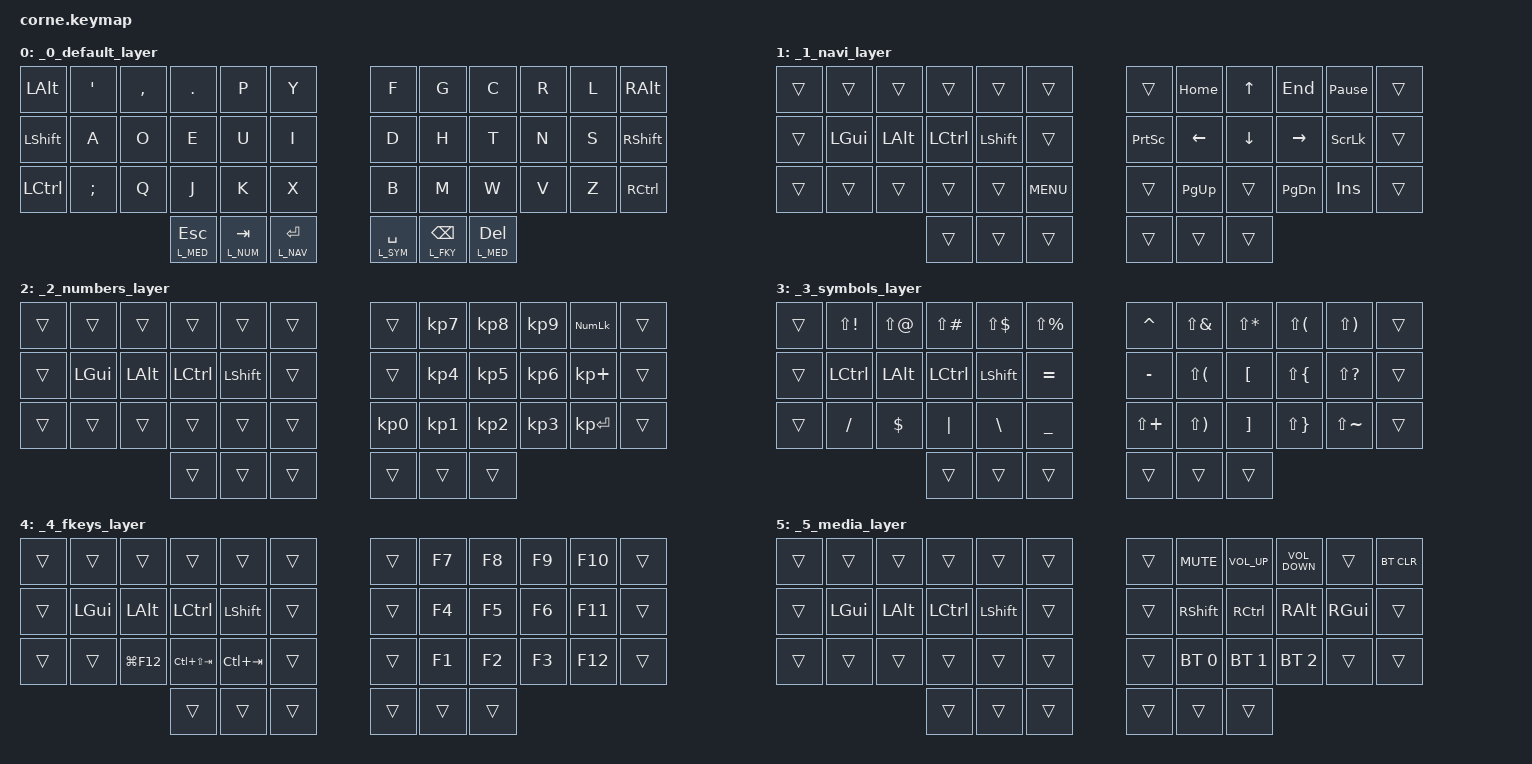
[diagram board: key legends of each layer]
/*
 * Copyright (c) 2020 The ZMK Contributors
 *
 * SPDX-License-Identifier: MIT
 */

#include <behaviors.dtsi>
#include <dt-bindings/zmk/bt.h>
#include <dt-bindings/zmk/keys.h>

// define the layers

#define L_DEF  0
#define L_NAV  1
#define L_NUM  2
#define L_SYM  3
#define L_FKY  4
#define L_MED  5

/ {
    combos {
        compatible = "zmk,combos";

        lgui {
            bindings = <&kp LEFT_GUI>;
            key-positions = <36 37>;
        };

        rgui {
            bindings = <&kp RIGHT_GUI>;
            key-positions = <41 40>;
        };
    };

    keymap {
        compatible = "zmk,keymap";

        _0_default_layer {
            bindings = <
&kp LALT   &kp SQT   &kp COMMA  &kp DOT        &kp P          &kp Y              &kp F            &kp G           &kp C             &kp R  &kp L  &kp RALT
&kp LSHFT  &kp A     &kp O      &kp E          &kp U          &kp I              &kp D            &kp H           &kp T             &kp N  &kp S  &kp RSHFT
&kp LCTRL  &kp SEMI  &kp Q      &kp J          &kp K          &kp X              &kp B            &kp M           &kp W             &kp V  &kp Z  &kp RCTRL
                                &lt L_MED ESC  &lt L_NUM TAB  &lt L_NAV ENTER    &lt L_SYM SPACE  &lt L_FKY BSPC  &lt L_MED DELETE
            >;
        };

        _1_navi_layer {
            bindings = <
&trans  &trans        &trans        &trans     &trans     &trans        &trans           &kp HOME     &kp UP_ARROW  &kp END        &kp PAUSE_BREAK  &trans
&trans  &kp LEFT_GUI  &kp LEFT_ALT  &kp LCTRL  &kp LSHFT  &trans        &kp PRINTSCREEN  &kp LEFT     &kp DOWN      &kp RIGHT      &kp SCROLLLOCK   &trans
&trans  &trans        &trans        &trans     &trans     &kp K_MENU    &trans           &kp PAGE_UP  &trans        &kp PAGE_DOWN  &kp INSERT       &trans
                                    &trans     &trans     &trans        &trans           &trans       &trans
            >;
        };

        _2_numbers_layer {
            bindings = <
&trans  &trans    &trans    &trans     &trans     &trans    &trans           &kp KP_NUMBER_7  &kp KP_NUMBER_8  &kp KP_NUMBER_9  &kp KP_NUMLOCK  &trans
&trans  &kp LGUI  &kp LALT  &kp LCTRL  &kp LSHFT  &trans    &trans           &kp KP_NUMBER_4  &kp KP_NUMBER_5  &kp KP_NUMBER_6  &kp KP_PLUS     &trans
&trans  &trans    &trans    &trans     &trans     &trans    &kp KP_NUMBER_0  &kp KP_NUMBER_1  &kp KP_NUMBER_2  &kp KP_NUMBER_3  &kp KP_ENTER    &trans
                            &trans     &trans     &trans    &trans           &trans           &trans
            >;
        };

        _3_symbols_layer {
            bindings = <
&trans  &kp LS(EXCL)  &kp LS(AT)  &kp LS(POUND)  &kp LS(DLLR)   &kp LS(PRCNT)    &kp CARET     &kp LS(AMPS)  &kp LS(STAR)      &kp LS(LPAR)  &kp LS(RPAR)   &trans
&trans  &kp LCTRL     &kp LALT    &kp LCTRL      &kp LSHFT      &kp EQUAL        &kp MINUS     &kp LS(LPAR)  &kp LEFT_BRACKET  &kp LS(LBRC)  &kp LS(QMARK)  &trans
&trans  &kp SLASH     &kp DOLLAR  &kp PIPE       &kp BACKSLASH  &kp UNDER        &kp LS(PLUS)  &kp LS(RPAR)  &kp RBKT          &kp LS(RBRC)  &kp LS(TILDE)  &trans
                                  &trans         &trans         &trans           &trans        &trans        &trans
            >;
        };

        _4_fkeys_layer {
            bindings = <
&trans  &trans    &trans       &trans           &trans       &trans    &trans  &kp F7  &kp F8  &kp F9  &kp F10  &trans
&trans  &kp LGUI  &kp LALT     &kp LCTRL        &kp LSHFT    &trans    &trans  &kp F4  &kp F5  &kp F6  &kp F11  &trans
&trans  &trans    &kp LG(F12)  &kp LC(LS(TAB))  &kp LC(TAB)  &trans    &trans  &kp F1  &kp F2  &kp F3  &kp F12  &trans
                               &trans           &trans       &trans    &trans  &trans  &trans
            >;
        };

        _5_media_layer {
            bindings = <
&trans  &trans    &trans    &trans     &trans     &trans    &trans  &kp K_MUTE    &kp C_VOLUME_UP  &kp C_VOLUME_DOWN  &trans    &bt BT_CLR
&trans  &kp LGUI  &kp LALT  &kp LCTRL  &kp LSHFT  &trans    &trans  &kp RSHFT     &kp RCTRL        &kp RALT           &kp RGUI  &trans
&trans  &trans    &trans    &trans     &trans     &trans    &trans  &bt BT_SEL 0  &bt BT_SEL 1     &bt BT_SEL 2       &trans    &trans
                            &trans     &trans     &trans    &trans  &trans        &trans
            >;
        };
    };
};
